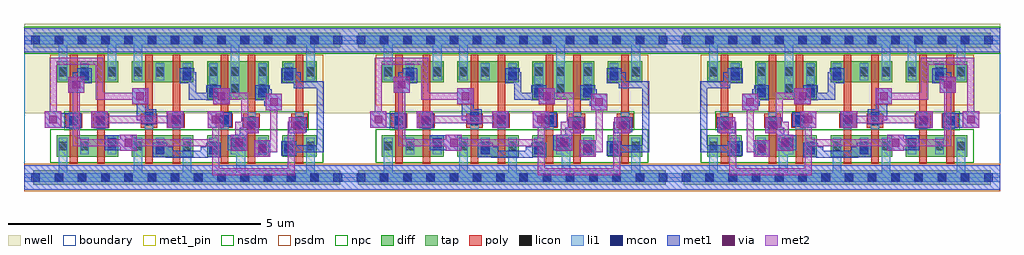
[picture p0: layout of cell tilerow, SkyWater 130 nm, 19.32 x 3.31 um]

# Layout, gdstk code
from math import pi, radians
import gdstk
lib = gdstk.Library(unit=1e-6, precision=1e-09)
def R(c, l, rs):  # rectangles x0, y0, x1, y1
    for r in rs: c.add(gdstk.rectangle(r[:2], r[2:], *l))
def A(c, l, x, y, w, h, nx, ny, dx, dy):  # array of equal rectangles
    R(c, l, [(x+i*dx, y+j*dy, x+i*dx+w, y+j*dy+h) for i in range(nx) for j in range(ny)])
nwell = (64, 20)
diff = (65, 20)
tap = (65, 44)
poly = (66, 20)
licon = (66, 44)
li1 = (67, 20)
mcon = (67, 44)
met1_pin = (68, 16)
met1 = (68, 20)
via = (68, 44)
met2 = (69, 20)
nsdm = (93, 44)
psdm = (94, 20)
npc = (95, 20)
boundary = (235, 4)

c_ha = lib.new_cell('ha')
R(c_ha, nwell, [(0,1.275,6.44,3.045)])
R(c_ha, diff, [(0.645,0.415,1.865,0.835), (2.135,0.415,3.355,0.835), (3.625,0.415,4.305,0.835), (4.165,0.415,4.845,0.835), (5.115,0.415,5.795,0.835), (3.625,1.555,4.845,2.305), (0.645,1.885,1.865,2.305), (2.135,1.885,3.355,2.305), (5.115,1.885,5.795,2.305)])
R(c_ha, tap, [(0.18,-0.145,6.26,0.145), (0.18,2.575,6.26,2.865)])
R(c_ha, poly, [(0.91,0.285,1.06,2.435), (1.45,0.285,1.6,2.435), (2.4,0.285,2.55,2.435), (2.94,0.285,3.09,2.435), (3.89,0.285,4.04,2.435), (4.43,0.285,4.58,2.435), (5.38,0.285,5.53,2.435), (0.82,0.99,1.15,1.26), (1.36,0.99,1.69,1.26), (2.31,0.99,2.64,1.26), (2.85,0.99,3.18,1.26), (3.8,0.99,4.13,1.26), (4.34,0.99,4.67,1.26), (5.29,0.99,5.62,1.26)])
A(c_ha, licon, 0.605, -0.085, 0.17, 0.17, 12, 2, 0.46, 2.72)
R(c_ha, licon, [(0.685,0.54,0.855,0.71), (1.115,0.54,1.285,0.71), (1.655,0.54,1.825,0.71), (2.175,0.54,2.345,0.71), (2.605,0.54,2.775,0.71), (3.145,0.54,3.315,0.71), (3.665,0.54,3.835,0.71), (4.095,0.54,4.265,0.71), (4.205,0.54,4.375,0.71), (4.635,0.54,4.805,0.71), (5.155,0.54,5.325,0.71), (5.585,0.54,5.755,0.71), (0.9,1.04,1.07,1.21), (1.44,1.04,1.61,1.21), (2.39,1.04,2.56,1.21), (2.93,1.04,3.1,1.21), (3.88,1.04,4.05,1.21), (4.42,1.04,4.59,1.21), (5.37,1.04,5.54,1.21), (3.665,1.675,3.835,1.845), (4.095,1.675,4.265,1.845), (4.635,1.675,4.805,1.845), (0.685,2.01,0.855,2.18), (1.115,2.01,1.285,2.18), (1.655,2.01,1.825,2.18), (2.175,2.01,2.345,2.18), (2.605,2.01,2.775,2.18), (3.145,2.01,3.315,2.18), (5.155,2.01,5.325,2.18), (5.585,2.01,5.755,2.18), (3.665,2.015,3.835,2.185), (4.095,2.015,4.265,2.185), (4.635,2.015,4.805,2.185)])
R(c_ha, li1, [(0,-0.085,6.44,0.085), (0.685,-0.085,0.855,0.79), (2.175,-0.085,2.345,0.79), (3.145,-0.085,3.315,0.79), (4.205,-0.085,4.375,0.79), (5.585,-0.085,5.755,0.79), (0.685,0.46,0.855,0.79), (1.115,0.46,1.285,0.79), (1.655,0.46,1.825,0.79), (2.175,0.46,2.345,0.79), (2.605,0.46,2.775,0.79), (3.145,0.46,3.315,0.79), (3.665,0.46,3.835,0.79), (4.095,0.46,4.265,0.79), (4.205,0.46,4.375,0.79), (4.635,0.46,4.805,0.79), (5.155,0.46,5.325,0.79), (5.585,0.46,5.755,0.79), (0.9,0.96,1.07,1.29), (1.44,0.96,1.61,1.29), (2.39,0.96,2.56,1.29), (2.93,0.96,3.1,1.29), (3.88,0.96,4.05,1.29), (4.42,0.96,4.59,1.29), (5.37,0.96,5.54,1.29), (3.665,1.595,3.835,2.265), (4.095,1.595,4.265,2.265), (4.095,1.595,4.265,2.805), (4.635,1.595,4.805,2.265), (0.685,1.93,0.855,2.26), (0.685,1.93,0.855,2.805), (1.115,1.93,1.285,2.26), (1.655,1.93,1.825,2.26), (1.655,1.93,1.825,2.805), (2.175,1.93,2.345,2.26), (2.175,1.93,2.345,2.805), (2.605,1.93,2.775,2.26), (3.145,1.93,3.315,2.26), (5.155,1.93,5.325,2.26), (5.585,1.93,5.755,2.26), (5.585,1.93,5.755,2.805), (0,2.635,6.44,2.805)])
A(c_ha, mcon, 0.145, -0.085, 0.17, 0.17, 14, 2, 0.46, 2.72)
R(c_ha, mcon, [(2.605,0.46,2.775,0.63), (3.665,0.46,3.835,0.63), (4.635,0.49,4.805,0.66), (5.155,0.49,5.325,0.66), (1.655,0.605,1.825,0.775), (4.095,0.605,4.265,0.775), (4.42,0.96,4.59,1.13), (5.37,0.96,5.54,1.13), (0.9,1.04,1.07,1.21), (1.44,1.04,1.61,1.21), (2.93,1.065,3.1,1.235), (3.88,1.065,4.05,1.235), (2.39,1.12,2.56,1.29), (3.665,1.595,3.835,1.765), (4.635,1.595,4.805,1.765), (1.115,1.93,1.285,2.1), (3.145,1.93,3.315,2.1), (5.155,1.93,5.325,2.1)])
R(c_ha, met1_pin, [(0,-0.24,6.44,0.24), (4.555,0.415,4.875,0.735), (5.095,0.43,5.385,0.72), (0.84,0.98,1.13,1.27), (1.38,0.98,1.67,1.27), (0,2.48,6.44,2.96)])
R(c_ha, met1, [(0,-0.24,6.44,0.24), (2.805,0.39,2.945,0.615), (2.805,0.39,3.635,0.53), (3.495,0.39,3.635,0.615), (2.545,0.4,2.835,0.69), (3.605,0.4,3.895,0.69), (4.555,0.415,4.875,0.735), (4.575,0.43,4.865,0.72), (5.095,0.43,5.385,0.72), (2.62,0.475,2.945,0.615), (3.495,0.475,3.82,0.615), (4.645,0.505,4.79,0.645), (5.17,0.505,5.475,0.645), (5.335,0.505,5.935,0.645), (5.795,0.505,5.935,1.91), (1.91,0.53,2.23,0.85), (4.095,0.53,4.415,0.85), (1.595,0.545,1.885,0.835), (1.885,0.545,1.91,0.835), (4.035,0.545,4.325,0.835), (1.67,0.62,1.91,0.76), (1.77,0.62,2.14,0.76), (4.11,0.62,4.325,0.76), (4.275,0.85,4.415,0.99), (4.325,0.85,4.415,0.875), (4.36,0.85,4.415,0.9), (4.325,0.875,4.645,1.195), (5.245,0.875,5.565,1.195), (4.36,0.9,4.65,1.19), (5.31,0.9,5.6,1.19), (4.415,0.965,4.555,1.115), (5.335,0.965,5.475,1.115), (4.415,0.975,4.575,1.115), (5.335,0.975,5.525,1.115), (0.84,0.98,1.13,1.27), (1.38,0.98,1.67,1.27), (0.415,0.99,0.735,1.31), (0.735,0.99,0.84,1.27), (1.335,0.99,1.655,1.31), (2.83,0.99,3.15,1.31), (3.635,0.99,3.955,1.31), (2.87,1.005,3.16,1.295), (3.82,1.005,4.11,1.295), (2.33,1.06,2.62,1.35), (0.505,1.08,0.99,1.22), (0.85,1.08,0.99,1.22), (1.425,1.08,1.565,1.22), (2.92,1.08,3.085,1.22), (3.725,1.08,4.035,1.22), (2.23,1.135,2.37,1.45), (2.23,1.135,2.545,1.275), (2.23,1.31,2.37,1.68), (4.785,1.335,5.105,1.655), (2.33,1.35,2.46,1.45), (4.76,1.425,4.9,1.75), (4.76,1.425,5.015,1.565), (2.14,1.45,2.46,1.77), (3.75,1.45,4.07,1.77), (3.605,1.535,3.895,1.825), (4.575,1.535,4.865,1.825), (3.265,1.54,3.98,1.68), (3.265,1.54,3.405,1.91), (3.84,1.54,3.98,1.75), (3.68,1.61,3.98,1.75), (4.65,1.61,4.9,1.75), (0.875,1.68,1.195,2), (0.965,1.77,1.105,2.085), (3.265,1.77,3.405,2.085), (5.335,1.77,5.475,2.085), (5.335,1.77,5.935,1.91), (1.055,1.87,1.345,2.16), (3.085,1.87,3.375,2.16), (5.095,1.87,5.385,2.16), (0.965,1.945,1.27,2.085), (3.16,1.945,3.405,2.085), (5.17,1.945,5.475,2.085), (0,2.48,6.44,2.96)])
R(c_ha, via, [(4.64,0.5,4.79,0.65), (1.995,0.615,2.145,0.765), (4.18,0.615,4.33,0.765), (4.41,0.96,4.56,1.11), (5.33,0.96,5.48,1.11), (0.5,1.075,0.65,1.225), (1.42,1.075,1.57,1.225), (2.915,1.075,3.065,1.225), (3.72,1.075,3.87,1.225), (4.87,1.42,5.02,1.57), (2.225,1.535,2.375,1.685), (3.835,1.535,3.985,1.685), (0.96,1.765,1.11,1.915)])
R(c_ha, met2, [(3.725,0.045,5.36,0.185), (3.725,0.045,3.865,0.76), (5.22,0.045,5.36,1.105), (4.555,0.415,4.875,0.735), (4.645,0.505,5.015,0.645), (4.875,0.505,5.015,1.565), (1.91,0.53,2.23,0.85), (4.095,0.53,4.415,0.85), (0.965,0.62,2.14,0.76), (0.965,0.62,1.105,1.91), (2,0.62,3.865,0.76), (3.725,0.62,3.865,1.22), (4.185,0.62,4.325,1.105), (4.185,0.85,4.415,0.965), (4.325,0.85,4.415,0.875), (4.325,0.875,4.645,1.195), (5.245,0.875,5.565,1.195), (4.185,0.965,4.555,1.105), (4.3,0.965,4.44,1.68), (5.22,0.965,5.475,1.105), (0.415,0.99,0.735,1.31), (1.335,0.99,1.655,1.31), (2.83,0.99,3.15,1.31), (3.635,0.99,3.955,1.31), (0.505,1.08,0.645,2.37), (1.425,1.08,3.06,1.22), (4.785,1.335,5.105,1.655), (2.14,1.45,2.46,1.77), (3.75,1.45,4.07,1.77), (1.425,1.54,1.565,2.37), (1.425,1.54,2.37,1.68), (3.84,1.54,4.44,1.68), (0.875,1.68,1.195,2), (0.505,2.23,1.565,2.37)])
R(c_ha, nsdm, [(0.52,0.29,5.92,0.96), (0,2.45,6.44,2.99)])
R(c_ha, psdm, [(0,-0.27,6.44,0.27), (0.52,1.43,5.92,2.43)])
R(c_ha, npc, [(0.8,0.94,5.64,1.31)])
R(c_ha, boundary, [(0,0,6.44,2.72)])
c_ha.add(gdstk.Label('n2', (1.2,0.625), layer=67, texttype=5))
c_ha.add(gdstk.Label('n1', (1.74,0.625), layer=67, texttype=5))
c_ha.add(gdstk.Label('n4', (2.69,0.625), layer=67, texttype=5))
c_ha.add(gdstk.Label('n3', (4.18,0.625), layer=67, texttype=5))
c_ha.add(gdstk.Label('n5', (2.69,2.095), layer=67, texttype=5))
c_ha.add(gdstk.Label('A', (0.985,1.125), layer=68, texttype=5))
c_ha.add(gdstk.Label('B', (1.525,1.125), layer=68, texttype=5))
c_ha.add(gdstk.Label('COUT', (5.24,0.575), layer=68, texttype=5))
c_ha.add(gdstk.Label('SUM', (4.715,0.575), layer=68, texttype=5))
c_ha.add(gdstk.Label('VPWR', (3.22,2.72), layer=68, texttype=5))
c_ha.add(gdstk.Label('VGND', (3.22,0), layer=68, texttype=5))
c_ha.add(gdstk.Label('A', (0.985,1.125), layer=68, texttype=16))
c_ha.add(gdstk.Label('B', (1.525,1.125), layer=68, texttype=16))
c_ha.add(gdstk.Label('COUT', (5.24,0.575), layer=68, texttype=16))
c_ha.add(gdstk.Label('SUM', (4.715,0.575), layer=68, texttype=16))
c_ha.add(gdstk.Label('VPWR', (3.22,2.72), layer=68, texttype=16))
c_ha.add(gdstk.Label('VGND', (3.22,0), layer=68, texttype=16))

tilerow = lib.new_cell('tilerow')
tilerow.add(gdstk.Reference(c_ha, (0,0)))
tilerow.add(gdstk.Reference(c_ha, (6.44,0)))
tilerow.add(gdstk.Reference(c_ha, (19.32,0), rotation=pi, x_reflection=True))

lib.write_gds('tilerow.gds')
